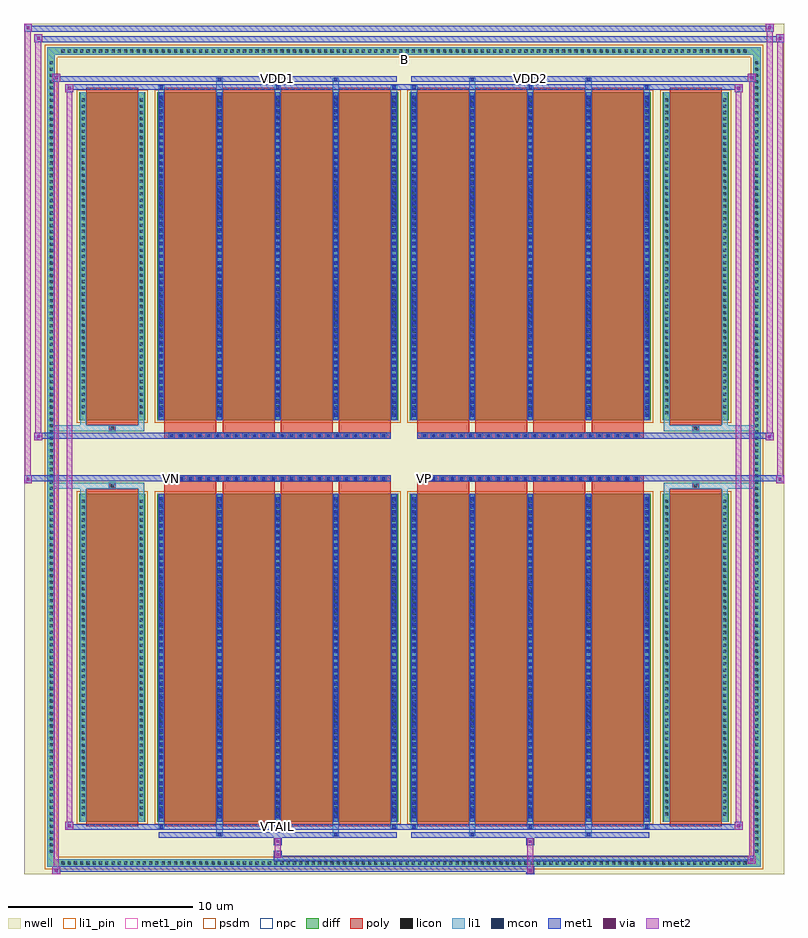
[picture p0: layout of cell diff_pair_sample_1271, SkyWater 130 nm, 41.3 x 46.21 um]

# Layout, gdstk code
import gdstk
lib = gdstk.Library(unit=1e-6, precision=5e-09)
def R(c, l, rs):  # rectangles x0, y0, x1, y1
    for r in rs: c.add(gdstk.rectangle(r[:2], r[2:], *l))
def A(c, l, x, y, w, h, nx, ny, dx, dy):  # array of equal rectangles
    R(c, l, [(x+i*dx, y+j*dy, x+i*dx+w, y+j*dy+h) for i in range(nx) for j in range(ny)])
def P(c, l, *ps):  # polygons
    for p in ps: c.add(gdstk.Polygon(p, *l))
nwell = (64, 20)
diff = (65, 20)
poly = (66, 20)
licon = (66, 44)
li1_pin = (67, 16)
li1 = (67, 20)
mcon = (67, 44)
met1_pin = (68, 16)
met1 = (68, 20)
via = (68, 44)
met2 = (69, 20)
psdm = (94, 20)
npc = (95, 20)

diff_pair_sample_1271 = lib.new_cell('diff_pair_sample_1271')
R(diff_pair_sample_1271, nwell, [(-20.65,-22.67,20.65,23.54), (-17.97,-20.86,-0.01,-0.8), (0.01,-20.86,17.97,-0.8), (-17.97,0.8,-0.01,20.86), (0.01,0.8,17.97,20.86)])
A(diff_pair_sample_1271, diff, -18.735, -22.27, 0.41, 0.41, 110, 2, 0.34, 44.13)
A(diff_pair_sample_1271, diff, -19.38, -21.625, 0.41, 0.41, 1, 127, 0, 0.34)
A(diff_pair_sample_1271, diff, 18.97, -21.625, 0.41, 0.41, 1, 127, 0, 0.34)
R(diff_pair_sample_1271, diff, [(-18.735,-22.27,18.735,-21.86), (-19.38,-21.625,-18.97,21.625), (18.97,-21.625,19.38,21.625), (-17.66,-19.815,-14.05,-1.985), (-13.41,-19.815,-0.32,-1.985), (0.32,-19.815,13.41,-1.985), (14.05,-19.815,17.66,-1.985), (-17.66,1.985,-14.05,19.815), (-13.41,1.985,-0.32,19.815), (0.32,1.985,13.41,19.815), (14.05,1.985,17.66,19.815), (-18.735,21.86,18.735,22.27)])
P(diff_pair_sample_1271, diff, [(19.38,22.27),(-19.38,22.27),(-19.38,-21.86),(-18.97,-21.86),(-18.97,21.86),(18.97,21.86),(18.97,-21.86),(-18.97,-21.86),(-19.38,-21.86),(-19.38,-22.27),(19.38,-22.27)])
A(diff_pair_sample_1271, poly, -13.02, -20.065, 2.83, 18.33, 4, 2, 3.16, 21.8)
A(diff_pair_sample_1271, poly, 0.71, -20.065, 2.83, 18.33, 4, 2, 3.16, 21.8)
A(diff_pair_sample_1271, poly, -13.02, -1.735, 2.83, 0.405, 4, 2, 3.16, 3.065)
A(diff_pair_sample_1271, poly, 0.71, -1.735, 2.83, 0.405, 4, 2, 3.16, 3.065)
A(diff_pair_sample_1271, poly, -12.78, -1.33, 0.33, 0.33, 24, 2, 0.5, 2.33)
A(diff_pair_sample_1271, poly, 0.95, -1.33, 0.33, 0.33, 24, 2, 0.5, 2.33)
R(diff_pair_sample_1271, poly, [(-17.27,-20.065,-14.44,-1.735), (14.44,-20.065,17.27,-1.735), (-16.02,-1.735,-15.69,-1.405), (-16.02,-1.735,-15.69,-1.405), (15.69,-1.735,16.02,-1.405), (15.69,-1.735,16.02,-1.405), (-13.02,-1.33,-0.71,-1), (0.71,-1.33,13.02,-1), (-13.02,1,-0.71,1.33), (0.71,1,13.02,1.33), (-16.02,1.405,-15.69,1.735), (-16.02,1.405,-15.69,1.735), (15.69,1.405,16.02,1.735), (15.69,1.405,16.02,1.735), (-17.27,1.735,-14.44,20.065), (14.44,1.735,17.27,20.065)])
A(diff_pair_sample_1271, licon, -18.615, -22.15, 0.17, 0.17, 110, 2, 0.34, 44.13)
A(diff_pair_sample_1271, licon, -19.26, -21.505, 0.17, 0.17, 1, 127, 0, 0.34)
A(diff_pair_sample_1271, licon, 19.09, -21.505, 0.17, 0.17, 1, 127, 0, 0.34)
A(diff_pair_sample_1271, licon, -17.52, -19.485, 0.17, 0.17, 1, 51, 0, 0.34)
A(diff_pair_sample_1271, licon, -14.36, -19.485, 0.17, 0.17, 1, 51, 0, 0.34)
A(diff_pair_sample_1271, licon, -13.27, -19.485, 0.17, 0.17, 5, 51, 3.16, 0.34)
A(diff_pair_sample_1271, licon, 0.46, -19.485, 0.17, 0.17, 5, 51, 3.16, 0.34)
A(diff_pair_sample_1271, licon, 14.19, -19.485, 0.17, 0.17, 1, 51, 0, 0.34)
A(diff_pair_sample_1271, licon, 17.35, -19.485, 0.17, 0.17, 1, 51, 0, 0.34)
A(diff_pair_sample_1271, licon, -12.7, -1.25, 0.17, 0.17, 24, 2, 0.5, 2.33)
A(diff_pair_sample_1271, licon, 1.03, -1.25, 0.17, 0.17, 24, 2, 0.5, 2.33)
A(diff_pair_sample_1271, licon, -17.52, 2.315, 0.17, 0.17, 1, 51, 0, 0.34)
A(diff_pair_sample_1271, licon, -14.36, 2.315, 0.17, 0.17, 1, 51, 0, 0.34)
A(diff_pair_sample_1271, licon, -13.27, 2.315, 0.17, 0.17, 5, 51, 3.16, 0.34)
A(diff_pair_sample_1271, licon, 0.46, 2.315, 0.17, 0.17, 5, 51, 3.16, 0.34)
A(diff_pair_sample_1271, licon, 14.19, 2.315, 0.17, 0.17, 1, 51, 0, 0.34)
A(diff_pair_sample_1271, licon, 17.35, 2.315, 0.17, 0.17, 1, 51, 0, 0.34)
R(diff_pair_sample_1271, licon, [(-15.94,-1.655,-15.77,-1.485), (15.77,-1.655,15.94,-1.485), (-15.94,1.485,-15.77,1.655), (15.77,1.485,15.94,1.655)])
R(diff_pair_sample_1271, li1_pin, [(-0.25,21.36,0.25,21.86)])
A(diff_pair_sample_1271, li1, -18.695, -22.23, 0.33, 0.33, 110, 2, 0.34, 44.13)
A(diff_pair_sample_1271, li1, -19.34, -21.585, 0.33, 0.33, 1, 127, 0, 0.34)
A(diff_pair_sample_1271, li1, 19.01, -21.585, 0.33, 0.33, 1, 127, 0, 0.34)
A(diff_pair_sample_1271, li1, -13.35, -20.19, 0.33, 0.375, 3, 2, 6.32, 40.005)
A(diff_pair_sample_1271, li1, -13.27, -20.19, 0.17, 0.17, 3, 2, 6.32, 40.21)
A(diff_pair_sample_1271, li1, 0.38, -20.19, 0.33, 0.375, 3, 2, 6.32, 40.005)
A(diff_pair_sample_1271, li1, 0.46, -20.19, 0.17, 0.17, 3, 2, 6.32, 40.21)
A(diff_pair_sample_1271, li1, -13.35, -19.815, 0.33, 17.83, 5, 2, 3.16, 21.8)
A(diff_pair_sample_1271, li1, 0.38, -19.815, 0.33, 17.83, 5, 2, 3.16, 21.8)
A(diff_pair_sample_1271, li1, -13.27, -19.625, 0.17, 0.17, 5, 49, 3.16, 0.36)
A(diff_pair_sample_1271, li1, -13.27, -19.625, 0.17, 17.45, 5, 2, 3.16, 21.8)
A(diff_pair_sample_1271, li1, 0.46, -19.625, 0.17, 0.17, 5, 49, 3.16, 0.36)
A(diff_pair_sample_1271, li1, 0.46, -19.625, 0.17, 17.45, 5, 2, 3.16, 21.8)
A(diff_pair_sample_1271, li1, -17.6, -19.565, 0.33, 0.33, 1, 51, 0, 0.34)
A(diff_pair_sample_1271, li1, -14.44, -19.565, 0.33, 0.33, 1, 51, 0, 0.34)
A(diff_pair_sample_1271, li1, -13.35, -19.565, 0.33, 0.33, 5, 51, 3.16, 0.34)
A(diff_pair_sample_1271, li1, 0.38, -19.565, 0.33, 0.33, 5, 51, 3.16, 0.34)
A(diff_pair_sample_1271, li1, 14.11, -19.565, 0.33, 0.33, 1, 51, 0, 0.34)
A(diff_pair_sample_1271, li1, 17.27, -19.565, 0.33, 0.33, 1, 51, 0, 0.34)
A(diff_pair_sample_1271, li1, -12.78, -1.33, 0.33, 0.33, 24, 2, 0.5, 2.33)
A(diff_pair_sample_1271, li1, 0.95, -1.33, 0.33, 0.33, 24, 2, 0.5, 2.33)
A(diff_pair_sample_1271, li1, -13.27, 2.175, 0.17, 0.17, 5, 49, 3.16, 0.36)
A(diff_pair_sample_1271, li1, 0.46, 2.175, 0.17, 0.17, 5, 49, 3.16, 0.36)
A(diff_pair_sample_1271, li1, -17.6, 2.235, 0.33, 0.33, 1, 51, 0, 0.34)
A(diff_pair_sample_1271, li1, -14.44, 2.235, 0.33, 0.33, 1, 51, 0, 0.34)
A(diff_pair_sample_1271, li1, -13.35, 2.235, 0.33, 0.33, 5, 51, 3.16, 0.34)
A(diff_pair_sample_1271, li1, 0.38, 2.235, 0.33, 0.33, 5, 51, 3.16, 0.34)
A(diff_pair_sample_1271, li1, 14.11, 2.235, 0.33, 0.33, 1, 51, 0, 0.34)
A(diff_pair_sample_1271, li1, 17.27, 2.235, 0.33, 0.33, 1, 51, 0, 0.34)
R(diff_pair_sample_1271, li1, [(-19.38,-22.27,-18.97,-21.86), (-19.38,-22.27,-18.97,-21.86), (-18.97,-22.27,18.97,-21.86), (18.97,-22.27,19.38,-21.86), (18.97,-22.27,19.38,-21.86), (-19.38,-21.86,-18.97,21.86), (18.97,-21.86,19.38,21.86), (-10.19,-20.62,-9.86,-19.815), (-10.11,-20.62,-9.94,-20.45), (-3.87,-20.62,-3.54,-19.815), (-3.79,-20.62,-3.62,-20.45), (3.54,-20.62,3.87,-19.815), (3.62,-20.62,3.79,-20.45), (9.86,-20.62,10.19,-19.815), (9.94,-20.62,10.11,-20.45), (-17.6,-19.815,-17.27,-1.985), (-14.44,-19.815,-14.11,-1.985), (14.11,-19.815,14.44,-1.985), (17.27,-19.815,17.6,-1.985), (-17.6,-1.985,-17.27,-1.405), (-14.44,-1.985,-14.11,-1.405), (14.11,-1.985,14.44,-1.405), (17.27,-1.985,17.6,-1.405), (-19.38,-1.735,-16.02,-1.405), (-17.6,-1.735,-16.02,-1.405), (-16.02,-1.735,-15.69,-1.405), (-15.69,-1.735,-14.11,-1.405), (14.11,-1.735,15.69,-1.405), (15.69,-1.735,16.02,-1.405), (15.69,-1.735,19.38,-1.405), (16.02,-1.735,17.6,-1.405), (-19.38,1.405,-16.02,1.735), (-17.6,1.405,-16.02,1.735), (-17.6,1.405,-17.27,1.985), (-16.02,1.405,-15.69,1.735), (-15.69,1.405,-14.11,1.735), (-14.44,1.405,-14.11,1.985), (14.11,1.405,15.69,1.735), (14.11,1.405,14.44,1.985), (15.69,1.405,16.02,1.735), (15.69,1.405,19.38,1.735), (16.02,1.405,17.6,1.735), (17.27,1.405,17.6,1.985), (-17.6,1.985,-17.27,19.815), (-14.44,1.985,-14.11,19.815), (14.11,1.985,14.44,19.815), (17.27,1.985,17.6,19.815), (-10.19,19.815,-9.86,20.62), (-3.87,19.815,-3.54,20.62), (3.54,19.815,3.87,20.62), (9.86,19.815,10.19,20.62), (-10.11,20.45,-9.94,20.62), (-3.79,20.45,-3.62,20.62), (3.62,20.45,3.79,20.62), (9.94,20.45,10.11,20.62), (-19.38,21.86,-18.97,22.27), (-19.38,21.86,-18.97,22.27), (-18.97,21.86,18.97,22.27), (18.97,21.86,19.38,22.27), (18.97,21.86,19.38,22.27)])
A(diff_pair_sample_1271, mcon, -13.27, -20.19, 0.17, 0.17, 3, 2, 6.32, 40.21)
A(diff_pair_sample_1271, mcon, 0.46, -20.19, 0.17, 0.17, 3, 2, 6.32, 40.21)
A(diff_pair_sample_1271, mcon, -13.27, -19.625, 0.17, 0.17, 5, 49, 3.16, 0.36)
A(diff_pair_sample_1271, mcon, 0.46, -19.625, 0.17, 0.17, 5, 49, 3.16, 0.36)
A(diff_pair_sample_1271, mcon, -12.7, -1.25, 0.17, 0.17, 24, 2, 0.5, 2.33)
A(diff_pair_sample_1271, mcon, 1.03, -1.25, 0.17, 0.17, 24, 2, 0.5, 2.33)
A(diff_pair_sample_1271, mcon, -13.27, 2.175, 0.17, 0.17, 5, 49, 3.16, 0.36)
A(diff_pair_sample_1271, mcon, 0.46, 2.175, 0.17, 0.17, 5, 49, 3.16, 0.36)
R(diff_pair_sample_1271, mcon, [(-10.11,-20.62,-9.94,-20.45), (-3.79,-20.62,-3.62,-20.45), (3.62,-20.62,3.79,-20.45), (9.94,-20.62,10.11,-20.45), (-10.11,20.45,-9.94,20.62), (-3.79,20.45,-3.62,20.62), (3.62,20.45,3.79,20.62), (9.94,20.45,10.11,20.62)])
R(diff_pair_sample_1271, met1_pin, [(-7,-20.23,-6.73,-19.96), (-12.75,-1.29,-12.48,-1.02), (0.98,-1.29,1.25,-1.02), (-7,20.41,-6.73,20.68), (6.73,20.41,7,20.68)])
A(diff_pair_sample_1271, met1, -13.33, -20.25, 0.29, 0.29, 3, 2, 6.32, 40.21)
A(diff_pair_sample_1271, met1, 0.4, -20.25, 0.29, 0.29, 3, 2, 6.32, 40.21)
A(diff_pair_sample_1271, met1, -13.33, -19.815, 0.29, 17.83, 5, 2, 3.16, 21.8)
A(diff_pair_sample_1271, met1, 0.4, -19.815, 0.29, 17.83, 5, 2, 3.16, 21.8)
A(diff_pair_sample_1271, met1, -13.33, -19.685, 0.29, 0.29, 5, 49, 3.16, 0.36)
A(diff_pair_sample_1271, met1, 0.4, -19.685, 0.29, 0.29, 5, 49, 3.16, 0.36)
A(diff_pair_sample_1271, met1, -12.76, -1.31, 0.29, 0.29, 24, 2, 0.5, 2.33)
A(diff_pair_sample_1271, met1, 0.97, -1.31, 0.29, 0.29, 24, 2, 0.5, 2.33)
A(diff_pair_sample_1271, met1, -13.33, 2.115, 0.29, 0.29, 5, 49, 3.16, 0.36)
A(diff_pair_sample_1271, met1, 0.4, 2.115, 0.29, 0.29, 5, 49, 3.16, 0.36)
R(diff_pair_sample_1271, met1, [(-19.11,-22.67,-18.68,-22.24), (6.65,-22.67,7.08,-22.24), (-19.11,-22.53,7.08,-22.24), (18.68,-22.1,19.11,-21.67), (-7.08,-21.96,19.11,-21.67), (-7.08,-21.82,-6.65,-21.39), (-7.08,-21.11,-6.65,-20.68), (6.65,-21.11,7.08,-20.68), (-13.33,-20.68,-0.4,-20.39), (-10.17,-20.68,-9.88,-20.39), (-3.85,-20.68,-3.56,-20.39), (0.4,-20.68,13.33,-20.39), (3.56,-20.68,3.85,-20.39), (9.88,-20.68,10.17,-20.39), (-18.4,-20.25,-17.97,-19.82), (-18.4,-20.25,-13.33,-19.96), (-13.33,-20.25,-0.4,-19.96), (-0.4,-20.25,0.4,-19.96), (0.4,-20.25,13.33,-19.96), (13.33,-20.25,18.4,-19.96), (17.97,-20.25,18.4,-19.82), (-20.65,-1.43,-20.22,-1), (20.22,-1.43,20.65,-1), (-20.65,-1.33,-0.71,-1), (-13.02,-1.33,-0.71,-1), (0.71,-1.33,13.02,-1), (0.71,-1.33,20.65,-1), (-20.08,0.9,-19.65,1.33), (19.65,0.9,20.08,1.33), (-20.08,1,-13.02,1.33), (-13.02,1,-0.71,1.33), (0.71,1,13.02,1.33), (13.02,1,20.08,1.33), (-18.4,19.82,-17.97,20.25), (17.97,19.82,18.4,20.25), (-18.4,19.96,-13.33,20.25), (-13.33,19.96,-0.4,20.25), (-0.4,19.96,0.4,20.25), (0.4,19.96,13.33,20.25), (13.33,19.96,18.4,20.25), (-19.11,20.39,-18.68,20.82), (-19.11,20.39,-13.33,20.68), (-13.33,20.39,-0.4,20.68), (-10.17,20.39,-9.88,20.68), (-3.85,20.39,-3.56,20.68), (0.4,20.39,13.33,20.68), (3.56,20.39,3.85,20.68), (9.88,20.39,10.17,20.68), (13.33,20.39,19.11,20.68), (18.68,20.39,19.11,20.82), (-20.08,22.54,-19.65,22.97), (-20.08,22.54,-17.97,22.87), (-17.97,22.54,17.97,22.87), (17.97,22.54,20.65,22.87), (20.22,22.54,20.65,22.97), (-20.65,23.11,-20.22,23.54), (-20.65,23.11,-17.97,23.44), (-17.97,23.11,17.97,23.44), (17.97,23.11,20.08,23.44), (19.65,23.11,20.08,23.54)])
R(diff_pair_sample_1271, via, [(-18.97,-22.53,-18.82,-22.38), (6.79,-22.53,6.94,-22.38), (18.82,-21.96,18.97,-21.81), (-6.94,-21.68,-6.79,-21.53), (-6.94,-20.97,-6.79,-20.82), (6.79,-20.97,6.94,-20.82), (-18.26,-20.11,-18.11,-19.96), (18.11,-20.11,18.26,-19.96), (-20.51,-1.29,-20.36,-1.14), (20.36,-1.29,20.51,-1.14), (-19.94,1.04,-19.79,1.19), (19.79,1.04,19.94,1.19), (-18.26,19.96,-18.11,20.11), (18.11,19.96,18.26,20.11), (-18.97,20.53,-18.82,20.68), (18.82,20.53,18.97,20.68), (-19.94,22.68,-19.79,22.83), (20.36,22.68,20.51,22.83), (-20.51,23.25,-20.36,23.4), (19.79,23.25,19.94,23.4)])
R(diff_pair_sample_1271, met2, [(-19.11,-22.67,-18.68,-22.24), (-19.04,-22.67,-18.75,20.82), (-18.75,-22.67,-18.68,-22.24), (-19.06,-22.62,-18.73,-22.29), (6.7,-22.62,7.03,-22.29), (6.7,-22.29,7.03,-21.06), (18.68,-22.1,19.11,-21.67), (18.75,-22.1,19.04,20.82), (19.04,-22.1,19.11,-21.67), (18.73,-22.05,19.06,-21.72), (-7.03,-21.77,-6.7,-21.44), (-7.03,-21.44,-6.7,-21.06), (-7.03,-21.06,-6.7,-20.73), (6.7,-21.06,7.03,-20.73), (-18.4,-20.25,-17.97,-19.82), (-18.33,-20.25,-18.04,20.25), (-18.04,-20.25,-17.97,-19.82), (17.97,-20.25,18.4,-19.82), (18.04,-20.25,18.33,20.25), (18.33,-20.25,18.4,-19.82), (-18.35,-20.2,-18.02,-19.87), (18.02,-20.2,18.35,-19.87), (-20.65,-1.43,-20.22,-1), (-20.6,-1.43,-20.27,23.54), (-20.27,-1.43,-20.22,-1), (20.22,-1.43,20.65,-1), (20.27,-1.43,20.6,22.97), (20.6,-1.43,20.65,-1), (-20.6,-1.38,-20.27,-1.05), (20.27,-1.38,20.6,-1.05), (-20.08,0.9,-19.65,1.33), (-20.03,0.9,-19.7,22.97), (-19.7,0.9,-19.65,1.33), (19.65,0.9,20.08,1.33), (19.7,0.9,20.03,23.54), (20.03,0.9,20.08,1.33), (-20.03,0.95,-19.7,1.28), (19.7,0.95,20.03,1.28), (-18.4,19.82,-17.97,20.25), (-18.04,19.82,-17.97,20.25), (17.97,19.82,18.4,20.25), (18.33,19.82,18.4,20.25), (-18.35,19.87,-18.02,20.2), (18.02,19.87,18.35,20.2), (-19.11,20.39,-18.68,20.82), (-18.75,20.39,-18.68,20.82), (18.68,20.39,19.11,20.82), (19.04,20.39,19.11,20.82), (-19.06,20.44,-18.73,20.77), (18.73,20.44,19.06,20.77), (-20.08,22.54,-19.65,22.97), (-19.7,22.54,-19.65,22.97), (20.22,22.54,20.65,22.97), (20.6,22.54,20.65,22.97), (-20.03,22.59,-19.7,22.92), (20.27,22.59,20.6,22.92), (-20.65,23.11,-20.22,23.54), (-20.27,23.11,-20.22,23.54), (19.65,23.11,20.08,23.54), (20.03,23.11,20.08,23.54), (-20.6,23.16,-20.27,23.49), (19.7,23.16,20.03,23.49)])
R(diff_pair_sample_1271, psdm, [(-17.79,-19.945,-13.92,-1.855), (-13.54,-19.945,-0.19,-1.855), (0.19,-19.945,13.54,-1.855), (13.92,-19.945,17.79,-1.855), (-17.79,1.855,-13.92,19.945), (-13.54,1.855,-0.19,19.945), (0.19,1.855,13.54,19.945), (13.92,1.855,17.79,19.945)])
P(diff_pair_sample_1271, psdm, [(19.51,22.4),(-19.51,22.4),(-19.51,-21.73),(-18.84,-21.73),(-18.84,21.73),(18.84,21.73),(18.84,-21.73),(-18.84,-21.73),(-19.51,-21.73),(-19.51,-22.4),(19.51,-22.4)])
A(diff_pair_sample_1271, npc, -12.8, -1.35, 0.37, 0.37, 24, 2, 0.5, 2.33)
A(diff_pair_sample_1271, npc, 0.93, -1.35, 0.37, 0.37, 24, 2, 0.5, 2.33)
R(diff_pair_sample_1271, npc, [(-16.04,-1.755,-15.67,-1.385), (15.67,-1.755,16.04,-1.385), (-12.8,-1.35,-11.93,-0.98), (-12.8,-1.35,-11.93,-0.98), (-12.3,-1.35,-11.43,-0.98), (-12.3,-1.35,-11.43,-0.98), (-11.8,-1.35,-10.93,-0.98), (-11.8,-1.35,-10.93,-0.98), (-11.3,-1.35,-10.43,-0.98), (-11.3,-1.35,-10.43,-0.98), (-10.8,-1.35,-9.93,-0.98), (-10.8,-1.35,-9.93,-0.98), (-10.3,-1.35,-9.43,-0.98), (-10.3,-1.35,-9.43,-0.98), (-9.8,-1.35,-8.93,-0.98), (-9.8,-1.35,-8.93,-0.98), (-9.3,-1.35,-8.43,-0.98), (-9.3,-1.35,-8.43,-0.98), (-8.8,-1.35,-7.93,-0.98), (-8.8,-1.35,-7.93,-0.98), (-8.3,-1.35,-7.43,-0.98), (-8.3,-1.35,-7.43,-0.98), (-7.8,-1.35,-6.93,-0.98), (-7.8,-1.35,-6.93,-0.98), (-7.3,-1.35,-6.43,-0.98), (-7.3,-1.35,-6.43,-0.98), (-6.8,-1.35,-5.93,-0.98), (-6.8,-1.35,-5.93,-0.98), (-6.3,-1.35,-5.43,-0.98), (-6.3,-1.35,-5.43,-0.98), (-5.8,-1.35,-4.93,-0.98), (-5.8,-1.35,-4.93,-0.98), (-5.3,-1.35,-4.43,-0.98), (-5.3,-1.35,-4.43,-0.98), (-4.8,-1.35,-3.93,-0.98), (-4.8,-1.35,-3.93,-0.98), (-4.3,-1.35,-3.43,-0.98), (-4.3,-1.35,-3.43,-0.98), (-3.8,-1.35,-2.93,-0.98), (-3.8,-1.35,-2.93,-0.98), (-3.3,-1.35,-2.43,-0.98), (-3.3,-1.35,-2.43,-0.98), (-2.8,-1.35,-1.93,-0.98), (-2.8,-1.35,-1.93,-0.98), (-2.3,-1.35,-1.43,-0.98), (-2.3,-1.35,-1.43,-0.98), (-1.8,-1.35,-0.93,-0.98), (-1.8,-1.35,-0.93,-0.98), (0.93,-1.35,1.8,-0.98), (0.93,-1.35,1.8,-0.98), (1.43,-1.35,2.3,-0.98), (1.43,-1.35,2.3,-0.98), (1.93,-1.35,2.8,-0.98), (1.93,-1.35,2.8,-0.98), (2.43,-1.35,3.3,-0.98), (2.43,-1.35,3.3,-0.98), (2.93,-1.35,3.8,-0.98), (2.93,-1.35,3.8,-0.98), (3.43,-1.35,4.3,-0.98), (3.43,-1.35,4.3,-0.98), (3.93,-1.35,4.8,-0.98), (3.93,-1.35,4.8,-0.98), (4.43,-1.35,5.3,-0.98), (4.43,-1.35,5.3,-0.98), (4.93,-1.35,5.8,-0.98), (4.93,-1.35,5.8,-0.98), (5.43,-1.35,6.3,-0.98), (5.43,-1.35,6.3,-0.98), (5.93,-1.35,6.8,-0.98), (5.93,-1.35,6.8,-0.98), (6.43,-1.35,7.3,-0.98), (6.43,-1.35,7.3,-0.98), (6.93,-1.35,7.8,-0.98), (6.93,-1.35,7.8,-0.98), (7.43,-1.35,8.3,-0.98), (7.43,-1.35,8.3,-0.98), (7.93,-1.35,8.8,-0.98), (7.93,-1.35,8.8,-0.98), (8.43,-1.35,9.3,-0.98), (8.43,-1.35,9.3,-0.98), (8.93,-1.35,9.8,-0.98), (8.93,-1.35,9.8,-0.98), (9.43,-1.35,10.3,-0.98), (9.43,-1.35,10.3,-0.98), (9.93,-1.35,10.8,-0.98), (9.93,-1.35,10.8,-0.98), (10.43,-1.35,11.3,-0.98), (10.43,-1.35,11.3,-0.98), (10.93,-1.35,11.8,-0.98), (10.93,-1.35,11.8,-0.98), (11.43,-1.35,12.3,-0.98), (11.43,-1.35,12.3,-0.98), (11.93,-1.35,12.8,-0.98), (11.93,-1.35,12.8,-0.98), (-12.8,0.98,-11.93,1.35), (-12.8,0.98,-11.93,1.35), (-12.3,0.98,-11.43,1.35), (-12.3,0.98,-11.43,1.35), (-11.8,0.98,-10.93,1.35), (-11.8,0.98,-10.93,1.35), (-11.3,0.98,-10.43,1.35), (-11.3,0.98,-10.43,1.35), (-10.8,0.98,-9.93,1.35), (-10.8,0.98,-9.93,1.35), (-10.3,0.98,-9.43,1.35), (-10.3,0.98,-9.43,1.35), (-9.8,0.98,-8.93,1.35), (-9.8,0.98,-8.93,1.35), (-9.3,0.98,-8.43,1.35), (-9.3,0.98,-8.43,1.35), (-8.8,0.98,-7.93,1.35), (-8.8,0.98,-7.93,1.35), (-8.3,0.98,-7.43,1.35), (-8.3,0.98,-7.43,1.35), (-7.8,0.98,-6.93,1.35), (-7.8,0.98,-6.93,1.35), (-7.3,0.98,-6.43,1.35), (-7.3,0.98,-6.43,1.35), (-6.8,0.98,-5.93,1.35), (-6.8,0.98,-5.93,1.35), (-6.3,0.98,-5.43,1.35), (-6.3,0.98,-5.43,1.35), (-5.8,0.98,-4.93,1.35), (-5.8,0.98,-4.93,1.35), (-5.3,0.98,-4.43,1.35), (-5.3,0.98,-4.43,1.35), (-4.8,0.98,-3.93,1.35), (-4.8,0.98,-3.93,1.35), (-4.3,0.98,-3.43,1.35), (-4.3,0.98,-3.43,1.35), (-3.8,0.98,-2.93,1.35), (-3.8,0.98,-2.93,1.35), (-3.3,0.98,-2.43,1.35), (-3.3,0.98,-2.43,1.35), (-2.8,0.98,-1.93,1.35), (-2.8,0.98,-1.93,1.35), (-2.3,0.98,-1.43,1.35), (-2.3,0.98,-1.43,1.35), (-1.8,0.98,-0.93,1.35), (-1.8,0.98,-0.93,1.35), (0.93,0.98,1.8,1.35), (0.93,0.98,1.8,1.35), (1.43,0.98,2.3,1.35), (1.43,0.98,2.3,1.35), (1.93,0.98,2.8,1.35), (1.93,0.98,2.8,1.35), (2.43,0.98,3.3,1.35), (2.43,0.98,3.3,1.35), (2.93,0.98,3.8,1.35), (2.93,0.98,3.8,1.35), (3.43,0.98,4.3,1.35), (3.43,0.98,4.3,1.35), (3.93,0.98,4.8,1.35), (3.93,0.98,4.8,1.35), (4.43,0.98,5.3,1.35), (4.43,0.98,5.3,1.35), (4.93,0.98,5.8,1.35), (4.93,0.98,5.8,1.35), (5.43,0.98,6.3,1.35), (5.43,0.98,6.3,1.35), (5.93,0.98,6.8,1.35), (5.93,0.98,6.8,1.35), (6.43,0.98,7.3,1.35), (6.43,0.98,7.3,1.35), (6.93,0.98,7.8,1.35), (6.93,0.98,7.8,1.35), (7.43,0.98,8.3,1.35), (7.43,0.98,8.3,1.35), (7.93,0.98,8.8,1.35), (7.93,0.98,8.8,1.35), (8.43,0.98,9.3,1.35), (8.43,0.98,9.3,1.35), (8.93,0.98,9.8,1.35), (8.93,0.98,9.8,1.35), (9.43,0.98,10.3,1.35), (9.43,0.98,10.3,1.35), (9.93,0.98,10.8,1.35), (9.93,0.98,10.8,1.35), (10.43,0.98,11.3,1.35), (10.43,0.98,11.3,1.35), (10.93,0.98,11.8,1.35), (10.93,0.98,11.8,1.35), (11.43,0.98,12.3,1.35), (11.43,0.98,12.3,1.35), (11.93,0.98,12.8,1.35), (11.93,0.98,12.8,1.35), (-16.04,1.385,-15.67,1.755), (15.67,1.385,16.04,1.755)])
diff_pair_sample_1271.add(gdstk.Label('VTAIL', (-6.865,-20.095), layer=68, texttype=5))
diff_pair_sample_1271.add(gdstk.Label('VN', (-12.615,-1.155), layer=68, texttype=5))
diff_pair_sample_1271.add(gdstk.Label('VP', (1.115,-1.155), layer=68, texttype=5))
diff_pair_sample_1271.add(gdstk.Label('B', (0,21.61), layer=67, texttype=5))
diff_pair_sample_1271.add(gdstk.Label('VDD2', (6.865,20.545), layer=68, texttype=5))
diff_pair_sample_1271.add(gdstk.Label('VDD1', (-6.865,20.545), layer=68, texttype=5))

lib.write_gds('diff_pair_sample_1271.gds')
